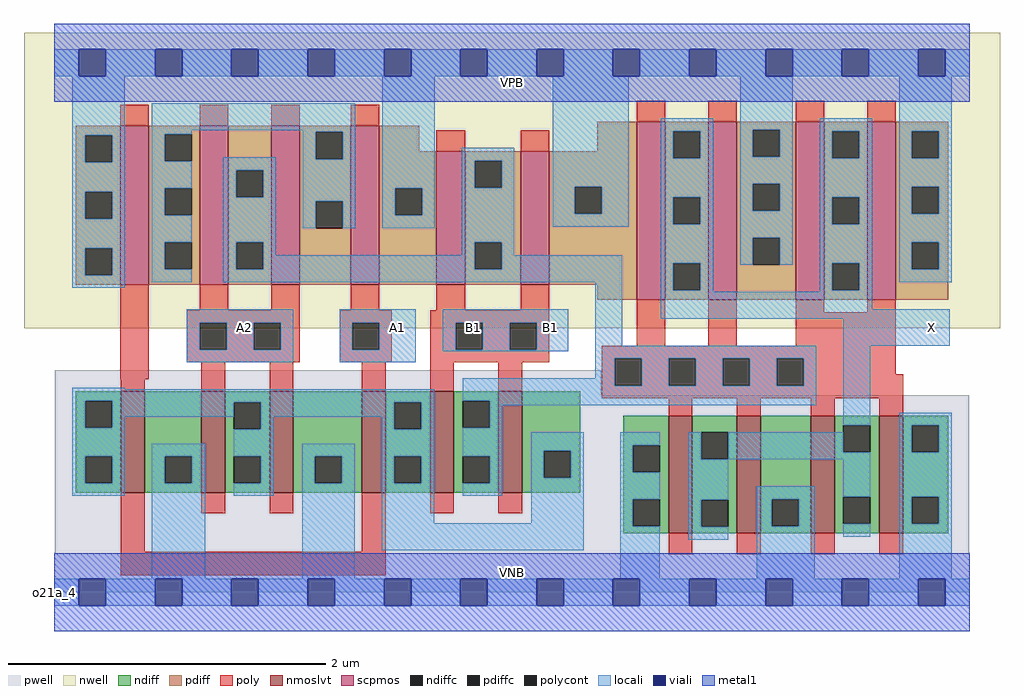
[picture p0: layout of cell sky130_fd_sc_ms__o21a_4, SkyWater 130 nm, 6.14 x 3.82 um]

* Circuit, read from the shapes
.subckt sky130_fd_sc_ms__o21a_4 A1 A2 B1 VGND VNB VPB VPWR X
XM1 VGND A1 n1 VNB sky130_fd_pr__nfet_01v8_lvt w=0.64 l=0.15 m=2
XM2 n1 A2 VGND VNB sky130_fd_pr__nfet_01v8_lvt w=0.64 l=0.15 m=2
XM3 n2 B1 n1 VNB sky130_fd_pr__nfet_01v8_lvt w=0.64 l=0.15 m=2
XM4 X n2 VGND VNB sky130_fd_pr__nfet_01v8_lvt w=0.74 l=0.15 m=4
XM5 n3 A1 VPWR VPB sky130_fd_pr__pfet_01v8 w=1 l=0.18 m=2
XM6 n2 A2 n3 VPB sky130_fd_pr__pfet_01v8 w=1 l=0.18 m=2
XM7 n2 B1 VPWR VPB sky130_fd_pr__pfet_01v8 w=0.84 l=0.18 m=2
XM8 X n2 VPWR VPB sky130_fd_pr__pfet_01v8 w=1.12 l=0.18 m=4
.ends

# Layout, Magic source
magic
tech sky130A
magscale 1 2
<< nwell >>
rect -38 332 1190 704
<< pwell >>
rect 1 248 688 279
rect 1 49 1151 248
rect 0 0 1152 49
<< scpmos >>
rect 83 387 119 587
rect 183 387 219 587
rect 273 387 309 587
rect 373 387 409 587
rect 481 387 517 555
rect 587 387 623 555
rect 733 368 769 592
rect 823 368 859 592
rect 933 368 969 592
rect 1023 368 1059 592
<< nmoslvt >>
rect 84 125 114 253
rect 185 125 215 253
rect 271 125 301 253
rect 387 125 417 253
rect 473 125 503 253
rect 559 125 589 253
rect 773 74 803 222
rect 859 74 889 222
rect 952 74 982 222
rect 1038 74 1068 222
<< ndiff >>
rect 27 241 84 253
rect 27 207 39 241
rect 73 207 84 241
rect 27 171 84 207
rect 27 137 39 171
rect 73 137 84 171
rect 27 125 84 137
rect 114 171 185 253
rect 114 137 139 171
rect 173 137 185 171
rect 114 125 185 137
rect 215 239 271 253
rect 215 205 226 239
rect 260 205 271 239
rect 215 171 271 205
rect 215 137 226 171
rect 260 137 271 171
rect 215 125 271 137
rect 301 171 387 253
rect 301 137 328 171
rect 362 137 387 171
rect 301 125 387 137
rect 417 239 473 253
rect 417 205 428 239
rect 462 205 473 239
rect 417 171 473 205
rect 417 137 428 171
rect 462 137 473 171
rect 417 125 473 137
rect 503 241 559 253
rect 503 207 514 241
rect 548 207 559 241
rect 503 171 559 207
rect 503 137 514 171
rect 548 137 559 171
rect 503 125 559 137
rect 589 178 662 253
rect 589 144 616 178
rect 650 144 662 178
rect 589 125 662 144
rect 716 185 773 222
rect 716 151 728 185
rect 762 151 773 185
rect 716 117 773 151
rect 716 83 728 117
rect 762 83 773 117
rect 716 74 773 83
rect 803 201 859 222
rect 803 167 814 201
rect 848 167 859 201
rect 803 116 859 167
rect 803 82 814 116
rect 848 82 859 116
rect 803 74 859 82
rect 889 117 952 222
rect 889 83 903 117
rect 937 83 952 117
rect 889 74 952 83
rect 982 210 1038 222
rect 982 176 993 210
rect 1027 176 1038 210
rect 982 120 1038 176
rect 982 86 993 120
rect 1027 86 1038 120
rect 982 74 1038 86
rect 1068 210 1125 222
rect 1068 176 1079 210
rect 1113 176 1125 210
rect 1068 120 1125 176
rect 1068 86 1079 120
rect 1113 86 1125 120
rect 1068 74 1125 86
<< pdiff >>
rect 27 575 83 587
rect 27 541 39 575
rect 73 541 83 575
rect 27 504 83 541
rect 27 470 39 504
rect 73 470 83 504
rect 27 433 83 470
rect 27 399 39 433
rect 73 399 83 433
rect 27 387 83 399
rect 119 576 183 587
rect 119 542 139 576
rect 173 542 183 576
rect 119 508 183 542
rect 119 474 139 508
rect 173 474 183 508
rect 119 440 183 474
rect 119 406 139 440
rect 173 406 183 440
rect 119 387 183 406
rect 219 531 273 587
rect 219 497 229 531
rect 263 497 273 531
rect 219 440 273 497
rect 219 406 229 440
rect 263 406 273 440
rect 219 387 273 406
rect 309 579 373 587
rect 309 545 329 579
rect 363 545 373 579
rect 309 492 373 545
rect 309 458 329 492
rect 363 458 373 492
rect 309 387 373 458
rect 409 555 459 587
rect 683 555 733 592
rect 409 508 481 555
rect 409 474 429 508
rect 463 474 481 508
rect 409 387 481 474
rect 517 543 587 555
rect 517 509 529 543
rect 563 509 587 543
rect 517 440 587 509
rect 517 406 529 440
rect 563 406 587 440
rect 517 387 587 406
rect 623 510 733 555
rect 623 476 655 510
rect 689 476 733 510
rect 623 387 733 476
rect 683 368 733 387
rect 769 580 823 592
rect 769 546 779 580
rect 813 546 823 580
rect 769 497 823 546
rect 769 463 779 497
rect 813 463 823 497
rect 769 414 823 463
rect 769 380 779 414
rect 813 380 823 414
rect 769 368 823 380
rect 859 582 933 592
rect 859 548 879 582
rect 913 548 933 582
rect 859 514 933 548
rect 859 480 879 514
rect 913 480 933 514
rect 859 446 933 480
rect 859 412 879 446
rect 913 412 933 446
rect 859 368 933 412
rect 969 580 1023 592
rect 969 546 979 580
rect 1013 546 1023 580
rect 969 497 1023 546
rect 969 463 979 497
rect 1013 463 1023 497
rect 969 414 1023 463
rect 969 380 979 414
rect 1013 380 1023 414
rect 969 368 1023 380
rect 1059 580 1125 592
rect 1059 546 1079 580
rect 1113 546 1125 580
rect 1059 510 1125 546
rect 1059 476 1079 510
rect 1113 476 1125 510
rect 1059 440 1125 476
rect 1059 406 1079 440
rect 1113 406 1125 440
rect 1059 368 1125 406
<< ndiffc >>
rect 39 207 73 241
rect 39 137 73 171
rect 139 137 173 171
rect 226 205 260 239
rect 226 137 260 171
rect 328 137 362 171
rect 428 205 462 239
rect 428 137 462 171
rect 514 207 548 241
rect 514 137 548 171
rect 616 144 650 178
rect 728 151 762 185
rect 728 83 762 117
rect 814 167 848 201
rect 814 82 848 116
rect 903 83 937 117
rect 993 176 1027 210
rect 993 86 1027 120
rect 1079 176 1113 210
rect 1079 86 1113 120
<< pdiffc >>
rect 39 541 73 575
rect 39 470 73 504
rect 39 399 73 433
rect 139 542 173 576
rect 139 474 173 508
rect 139 406 173 440
rect 229 497 263 531
rect 229 406 263 440
rect 329 545 363 579
rect 329 458 363 492
rect 429 474 463 508
rect 529 509 563 543
rect 529 406 563 440
rect 655 476 689 510
rect 779 546 813 580
rect 779 463 813 497
rect 779 380 813 414
rect 879 548 913 582
rect 879 480 913 514
rect 879 412 913 446
rect 979 546 1013 580
rect 979 463 1013 497
rect 979 380 1013 414
rect 1079 546 1113 580
rect 1079 476 1113 510
rect 1079 406 1113 440
<< poly >>
rect 83 587 119 613
rect 183 587 219 613
rect 273 587 309 613
rect 373 587 409 613
rect 733 592 769 618
rect 823 592 859 618
rect 933 592 969 618
rect 1023 592 1059 618
rect 481 555 517 581
rect 587 555 623 581
rect 83 268 119 387
rect 183 355 219 387
rect 273 355 309 387
rect 373 355 409 387
rect 481 355 517 387
rect 587 355 623 387
rect 167 339 309 355
rect 167 305 183 339
rect 217 305 251 339
rect 285 305 309 339
rect 167 289 309 305
rect 359 339 425 355
rect 359 305 375 339
rect 409 305 425 339
rect 359 289 425 305
rect 473 339 623 355
rect 473 305 505 339
rect 539 305 573 339
rect 607 305 623 339
rect 733 310 769 368
rect 823 310 859 368
rect 933 352 969 368
rect 1023 352 1059 368
rect 933 310 1059 352
rect 473 289 623 305
rect 689 294 1059 310
rect 84 253 114 268
rect 185 253 215 289
rect 271 253 301 289
rect 387 253 417 289
rect 473 253 503 289
rect 559 253 589 289
rect 689 260 705 294
rect 739 260 773 294
rect 807 260 841 294
rect 875 260 909 294
rect 943 274 1059 294
rect 943 260 1068 274
rect 689 244 1068 260
rect 773 222 803 244
rect 859 222 889 244
rect 952 222 982 244
rect 1038 222 1068 244
rect 84 51 114 125
rect 185 99 215 125
rect 271 99 301 125
rect 387 51 417 125
rect 473 99 503 125
rect 559 99 589 125
rect 84 21 417 51
rect 773 48 803 74
rect 859 48 889 74
rect 952 48 982 74
rect 1038 48 1068 74
<< polycont >>
rect 183 305 217 339
rect 251 305 285 339
rect 375 305 409 339
rect 505 305 539 339
rect 573 305 607 339
rect 705 260 739 294
rect 773 260 807 294
rect 841 260 875 294
rect 909 260 943 294
<< locali >>
rect 0 649 31 683
rect 65 649 127 683
rect 161 649 223 683
rect 257 649 319 683
rect 353 649 415 683
rect 449 649 511 683
rect 545 649 607 683
rect 641 649 703 683
rect 737 649 799 683
rect 833 649 895 683
rect 929 649 991 683
rect 1025 649 1087 683
rect 1121 649 1152 683
rect 23 575 89 649
rect 23 541 39 575
rect 73 541 89 575
rect 23 504 89 541
rect 23 470 39 504
rect 73 470 89 504
rect 23 433 89 470
rect 23 399 39 433
rect 73 399 89 433
rect 23 383 89 399
rect 123 581 379 615
rect 123 576 173 581
rect 123 542 139 576
rect 313 579 379 581
rect 123 508 173 542
rect 123 474 139 508
rect 123 440 173 474
rect 123 406 139 440
rect 123 390 173 406
rect 213 531 279 547
rect 213 497 229 531
rect 263 497 279 531
rect 213 440 279 497
rect 313 545 329 579
rect 363 545 379 579
rect 313 492 379 545
rect 313 458 329 492
rect 363 458 379 492
rect 413 508 479 649
rect 413 474 429 508
rect 463 474 479 508
rect 413 458 479 474
rect 513 543 579 559
rect 513 509 529 543
rect 563 509 579 543
rect 213 406 229 440
rect 263 424 279 440
rect 513 440 579 509
rect 627 510 723 649
rect 627 476 655 510
rect 689 476 723 510
rect 627 460 723 476
rect 763 580 829 596
rect 763 546 779 580
rect 813 546 829 580
rect 763 497 829 546
rect 763 463 779 497
rect 813 463 829 497
rect 513 424 529 440
rect 263 406 529 424
rect 563 424 579 440
rect 563 406 715 424
rect 213 390 715 406
rect 167 339 301 356
rect 167 305 183 339
rect 217 305 251 339
rect 285 305 301 339
rect 167 289 301 305
rect 359 339 455 356
rect 359 305 375 339
rect 409 305 455 339
rect 359 289 455 305
rect 489 339 647 356
rect 489 305 505 339
rect 539 305 573 339
rect 607 305 647 339
rect 489 303 647 305
rect 681 310 715 390
rect 763 414 829 463
rect 763 380 779 414
rect 813 380 829 414
rect 863 582 929 649
rect 863 548 879 582
rect 913 548 929 582
rect 863 514 929 548
rect 863 480 879 514
rect 913 480 929 514
rect 863 446 929 480
rect 863 412 879 446
rect 913 412 929 446
rect 963 580 1029 596
rect 963 546 979 580
rect 1013 546 1029 580
rect 963 497 1029 546
rect 963 463 979 497
rect 1013 463 1029 497
rect 963 414 1029 463
rect 763 378 829 380
rect 963 380 979 414
rect 1013 380 1029 414
rect 1063 580 1129 649
rect 1063 546 1079 580
rect 1113 546 1129 580
rect 1063 510 1129 546
rect 1063 476 1079 510
rect 1113 476 1129 510
rect 1063 440 1129 476
rect 1063 406 1079 440
rect 1113 406 1129 440
rect 1063 390 1129 406
rect 963 378 1029 380
rect 763 356 1029 378
rect 763 344 1127 356
rect 993 310 1127 344
rect 681 294 959 310
rect 681 269 705 294
rect 514 260 705 269
rect 739 260 773 294
rect 807 260 841 294
rect 875 260 909 294
rect 943 260 959 294
rect 23 255 89 257
rect 23 241 478 255
rect 23 207 39 241
rect 73 239 478 241
rect 73 221 226 239
rect 73 207 89 221
rect 23 171 89 207
rect 260 221 428 239
rect 260 205 276 221
rect 23 137 39 171
rect 73 137 89 171
rect 23 121 89 137
rect 123 171 190 187
rect 123 137 139 171
rect 173 137 190 171
rect 123 17 190 137
rect 226 171 276 205
rect 412 205 428 221
rect 462 205 478 239
rect 260 137 276 171
rect 226 121 276 137
rect 312 171 378 187
rect 312 137 328 171
rect 362 137 378 171
rect 312 17 378 137
rect 412 171 478 205
rect 412 137 428 171
rect 462 137 478 171
rect 412 87 478 137
rect 514 241 959 260
rect 548 235 959 241
rect 548 207 564 235
rect 514 171 564 207
rect 993 210 1027 310
rect 548 137 564 171
rect 514 121 564 137
rect 600 178 666 201
rect 600 144 616 178
rect 650 144 666 178
rect 600 87 666 144
rect 412 53 666 87
rect 712 185 762 201
rect 712 151 728 185
rect 712 117 762 151
rect 712 83 728 117
rect 712 17 762 83
rect 798 167 814 201
rect 848 176 993 201
rect 848 167 1027 176
rect 798 116 848 167
rect 798 82 814 116
rect 798 66 848 82
rect 884 117 957 133
rect 884 83 903 117
rect 937 83 957 117
rect 884 17 957 83
rect 993 120 1027 167
rect 993 70 1027 86
rect 1063 210 1129 226
rect 1063 176 1079 210
rect 1113 176 1129 210
rect 1063 120 1129 176
rect 1063 86 1079 120
rect 1113 86 1129 120
rect 1063 17 1129 86
rect 0 -17 31 17
rect 65 -17 127 17
rect 161 -17 223 17
rect 257 -17 319 17
rect 353 -17 415 17
rect 449 -17 511 17
rect 545 -17 607 17
rect 641 -17 703 17
rect 737 -17 799 17
rect 833 -17 895 17
rect 929 -17 991 17
rect 1025 -17 1087 17
rect 1121 -17 1152 17
<< viali >>
rect 31 649 65 683
rect 127 649 161 683
rect 223 649 257 683
rect 319 649 353 683
rect 415 649 449 683
rect 511 649 545 683
rect 607 649 641 683
rect 703 649 737 683
rect 799 649 833 683
rect 895 649 929 683
rect 991 649 1025 683
rect 1087 649 1121 683
rect 31 -17 65 17
rect 127 -17 161 17
rect 223 -17 257 17
rect 319 -17 353 17
rect 415 -17 449 17
rect 511 -17 545 17
rect 607 -17 641 17
rect 703 -17 737 17
rect 799 -17 833 17
rect 895 -17 929 17
rect 991 -17 1025 17
rect 1087 -17 1121 17
<< metal1 >>
rect 0 683 1152 715
rect 0 649 31 683
rect 65 649 127 683
rect 161 649 223 683
rect 257 649 319 683
rect 353 649 415 683
rect 449 649 511 683
rect 545 649 607 683
rect 641 649 703 683
rect 737 649 799 683
rect 833 649 895 683
rect 929 649 991 683
rect 1025 649 1087 683
rect 1121 649 1152 683
rect 0 617 1152 649
rect 0 17 1152 49
rect 0 -17 31 17
rect 65 -17 127 17
rect 161 -17 223 17
rect 257 -17 319 17
rect 353 -17 415 17
rect 449 -17 511 17
rect 545 -17 607 17
rect 641 -17 703 17
rect 737 -17 799 17
rect 833 -17 895 17
rect 929 -17 991 17
rect 1025 -17 1087 17
rect 1121 -17 1152 17
rect 0 -49 1152 -17
<< labels >>
flabel pwell s 0 0 1152 49 0 FreeSans 200 0 0 0 VNB
port 5 nsew ground bidirectional
flabel nwell s 0 617 1152 666 0 FreeSans 200 0 0 0 VPB
port 6 nsew power bidirectional
rlabel comment s 0 0 0 0 4 o21a_4
flabel metal1 s 0 617 1152 666 0 FreeSans 340 0 0 0 VPWR
port 7 nsew power bidirectional
flabel metal1 s 0 0 1152 49 0 FreeSans 340 0 0 0 VGND
port 4 nsew ground bidirectional
flabel locali s 415 316 449 350 0 FreeSans 340 0 0 0 A1
port 1 nsew signal input
flabel locali s 223 316 257 350 0 FreeSans 340 0 0 0 A2
port 2 nsew signal input
flabel locali s 511 316 545 350 0 FreeSans 340 0 0 0 B1
port 3 nsew signal input
flabel locali s 607 316 641 350 0 FreeSans 340 0 0 0 B1
port 3 nsew signal input
flabel locali s 1087 316 1121 350 0 FreeSans 340 0 0 0 X
port 8 nsew signal output
<< properties >>
string LEFsite unit
string LEFclass CORE
string FIXED_BBOX 0 0 1152 666
string GDS_FILE $PDKPATH/libs.ref/sky130_fd_sc_ms/gds/sky130_fd_sc_ms.gds
string LEFsymmetry X Y
string GDS_END 822350
string GDS_START 812956
<< end >>
